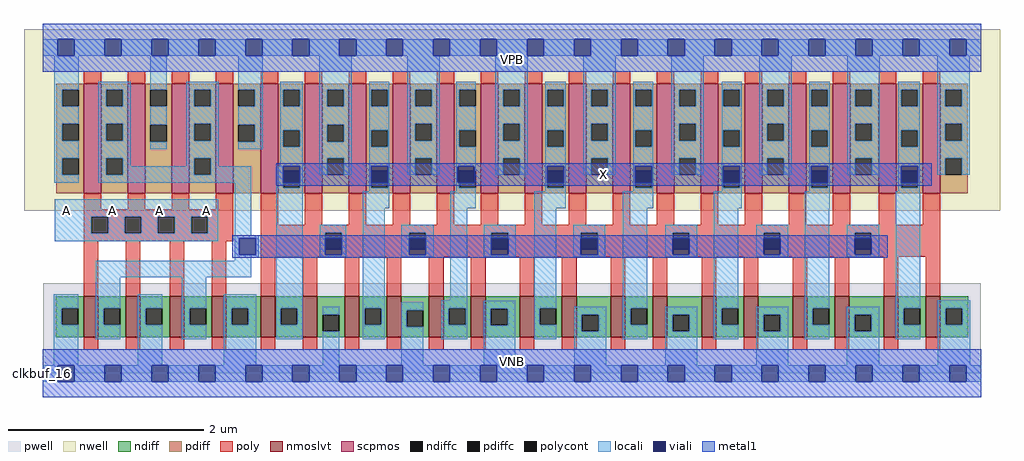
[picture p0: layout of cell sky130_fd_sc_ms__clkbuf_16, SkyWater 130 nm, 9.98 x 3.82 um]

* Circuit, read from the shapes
.subckt sky130_fd_sc_ms__clkbuf_16 A VGND VNB VPB VPWR X
XM1 n1 A VGND VNB sky130_fd_pr__nfet_01v8_lvt w=0.42 l=0.15 m=4
XM2 X n1 VGND VNB sky130_fd_pr__nfet_01v8_lvt w=0.42 l=0.15 m=16
XM3 n1 A VPWR VPB sky130_fd_pr__pfet_01v8 w=1.12 l=0.18 m=4
XM4 X n1 VPWR VPB sky130_fd_pr__pfet_01v8 w=1.12 l=0.18 m=16
.ends

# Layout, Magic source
magic
tech sky130A
magscale 1 2
<< nwell >>
rect -38 332 1958 704
<< pwell >>
rect 1 49 1919 184
rect 0 0 1920 49
<< scpmos >>
rect 84 368 120 592
rect 174 368 210 592
rect 264 368 300 592
rect 354 368 390 592
rect 446 368 482 592
rect 536 368 572 592
rect 626 368 662 592
rect 716 368 752 592
rect 806 368 842 592
rect 896 368 932 592
rect 986 368 1022 592
rect 1076 368 1112 592
rect 1166 368 1202 592
rect 1256 368 1292 592
rect 1346 368 1382 592
rect 1436 368 1472 592
rect 1526 368 1562 592
rect 1616 368 1652 592
rect 1710 368 1746 592
rect 1800 368 1836 592
<< nmoslvt >>
rect 84 74 114 158
rect 170 74 200 158
rect 260 74 290 158
rect 346 74 376 158
rect 446 74 476 158
rect 532 74 562 158
rect 618 74 648 158
rect 704 74 734 158
rect 790 74 820 158
rect 876 74 906 158
rect 976 74 1006 158
rect 1062 74 1092 158
rect 1162 74 1192 158
rect 1248 74 1278 158
rect 1348 74 1378 158
rect 1434 74 1464 158
rect 1534 74 1564 158
rect 1620 74 1650 158
rect 1720 74 1750 158
rect 1806 74 1836 158
<< ndiff >>
rect 27 133 84 158
rect 27 99 39 133
rect 73 99 84 133
rect 27 74 84 99
rect 114 133 170 158
rect 114 99 125 133
rect 159 99 170 133
rect 114 74 170 99
rect 200 133 260 158
rect 200 99 211 133
rect 245 99 260 133
rect 200 74 260 99
rect 290 133 346 158
rect 290 99 301 133
rect 335 99 346 133
rect 290 74 346 99
rect 376 133 446 158
rect 376 99 387 133
rect 421 99 446 133
rect 376 74 446 99
rect 476 133 532 158
rect 476 99 487 133
rect 521 99 532 133
rect 476 74 532 99
rect 562 120 618 158
rect 562 86 573 120
rect 607 86 618 120
rect 562 74 618 86
rect 648 133 704 158
rect 648 99 659 133
rect 693 99 704 133
rect 648 74 704 99
rect 734 129 790 158
rect 734 95 745 129
rect 779 95 790 129
rect 734 74 790 95
rect 820 133 876 158
rect 820 99 831 133
rect 865 99 876 133
rect 820 74 876 99
rect 906 132 976 158
rect 906 98 917 132
rect 951 98 976 132
rect 906 74 976 98
rect 1006 133 1062 158
rect 1006 99 1017 133
rect 1051 99 1062 133
rect 1006 74 1062 99
rect 1092 120 1162 158
rect 1092 86 1103 120
rect 1137 86 1162 120
rect 1092 74 1162 86
rect 1192 133 1248 158
rect 1192 99 1203 133
rect 1237 99 1248 133
rect 1192 74 1248 99
rect 1278 120 1348 158
rect 1278 86 1289 120
rect 1323 86 1348 120
rect 1278 74 1348 86
rect 1378 133 1434 158
rect 1378 99 1389 133
rect 1423 99 1434 133
rect 1378 74 1434 99
rect 1464 120 1534 158
rect 1464 86 1475 120
rect 1509 86 1534 120
rect 1464 74 1534 86
rect 1564 133 1620 158
rect 1564 99 1575 133
rect 1609 99 1620 133
rect 1564 74 1620 99
rect 1650 120 1720 158
rect 1650 86 1661 120
rect 1695 86 1720 120
rect 1650 74 1720 86
rect 1750 133 1806 158
rect 1750 99 1761 133
rect 1795 99 1806 133
rect 1750 74 1806 99
rect 1836 133 1893 158
rect 1836 99 1847 133
rect 1881 99 1893 133
rect 1836 74 1893 99
<< pdiff >>
rect 28 580 84 592
rect 28 546 40 580
rect 74 546 84 580
rect 28 510 84 546
rect 28 476 40 510
rect 74 476 84 510
rect 28 440 84 476
rect 28 406 40 440
rect 74 406 84 440
rect 28 368 84 406
rect 120 580 174 592
rect 120 546 130 580
rect 164 546 174 580
rect 120 510 174 546
rect 120 476 130 510
rect 164 476 174 510
rect 120 440 174 476
rect 120 406 130 440
rect 164 406 174 440
rect 120 368 174 406
rect 210 580 264 592
rect 210 546 220 580
rect 254 546 264 580
rect 210 508 264 546
rect 210 474 220 508
rect 254 474 264 508
rect 210 368 264 474
rect 300 580 354 592
rect 300 546 310 580
rect 344 546 354 580
rect 300 510 354 546
rect 300 476 310 510
rect 344 476 354 510
rect 300 440 354 476
rect 300 406 310 440
rect 344 406 354 440
rect 300 368 354 406
rect 390 580 446 592
rect 390 546 400 580
rect 434 546 446 580
rect 390 508 446 546
rect 390 474 400 508
rect 434 474 446 508
rect 390 368 446 474
rect 482 580 536 592
rect 482 546 492 580
rect 526 546 536 580
rect 482 497 536 546
rect 482 463 492 497
rect 526 463 536 497
rect 482 414 536 463
rect 482 380 492 414
rect 526 380 536 414
rect 482 368 536 380
rect 572 580 626 592
rect 572 546 582 580
rect 616 546 626 580
rect 572 508 626 546
rect 572 474 582 508
rect 616 474 626 508
rect 572 440 626 474
rect 572 406 582 440
rect 616 406 626 440
rect 572 368 626 406
rect 662 580 716 592
rect 662 546 672 580
rect 706 546 716 580
rect 662 497 716 546
rect 662 463 672 497
rect 706 463 716 497
rect 662 414 716 463
rect 662 380 672 414
rect 706 380 716 414
rect 662 368 716 380
rect 752 580 806 592
rect 752 546 762 580
rect 796 546 806 580
rect 752 510 806 546
rect 752 476 762 510
rect 796 476 806 510
rect 752 440 806 476
rect 752 406 762 440
rect 796 406 806 440
rect 752 368 806 406
rect 842 580 896 592
rect 842 546 852 580
rect 886 546 896 580
rect 842 497 896 546
rect 842 463 852 497
rect 886 463 896 497
rect 842 414 896 463
rect 842 380 852 414
rect 886 380 896 414
rect 842 368 896 380
rect 932 580 986 592
rect 932 546 942 580
rect 976 546 986 580
rect 932 510 986 546
rect 932 476 942 510
rect 976 476 986 510
rect 932 440 986 476
rect 932 406 942 440
rect 976 406 986 440
rect 932 368 986 406
rect 1022 580 1076 592
rect 1022 546 1032 580
rect 1066 546 1076 580
rect 1022 497 1076 546
rect 1022 463 1032 497
rect 1066 463 1076 497
rect 1022 414 1076 463
rect 1022 380 1032 414
rect 1066 380 1076 414
rect 1022 368 1076 380
rect 1112 580 1166 592
rect 1112 546 1122 580
rect 1156 546 1166 580
rect 1112 510 1166 546
rect 1112 476 1122 510
rect 1156 476 1166 510
rect 1112 440 1166 476
rect 1112 406 1122 440
rect 1156 406 1166 440
rect 1112 368 1166 406
rect 1202 580 1256 592
rect 1202 546 1212 580
rect 1246 546 1256 580
rect 1202 497 1256 546
rect 1202 463 1212 497
rect 1246 463 1256 497
rect 1202 414 1256 463
rect 1202 380 1212 414
rect 1246 380 1256 414
rect 1202 368 1256 380
rect 1292 580 1346 592
rect 1292 546 1302 580
rect 1336 546 1346 580
rect 1292 510 1346 546
rect 1292 476 1302 510
rect 1336 476 1346 510
rect 1292 440 1346 476
rect 1292 406 1302 440
rect 1336 406 1346 440
rect 1292 368 1346 406
rect 1382 580 1436 592
rect 1382 546 1392 580
rect 1426 546 1436 580
rect 1382 497 1436 546
rect 1382 463 1392 497
rect 1426 463 1436 497
rect 1382 414 1436 463
rect 1382 380 1392 414
rect 1426 380 1436 414
rect 1382 368 1436 380
rect 1472 580 1526 592
rect 1472 546 1482 580
rect 1516 546 1526 580
rect 1472 510 1526 546
rect 1472 476 1482 510
rect 1516 476 1526 510
rect 1472 440 1526 476
rect 1472 406 1482 440
rect 1516 406 1526 440
rect 1472 368 1526 406
rect 1562 580 1616 592
rect 1562 546 1572 580
rect 1606 546 1616 580
rect 1562 497 1616 546
rect 1562 463 1572 497
rect 1606 463 1616 497
rect 1562 414 1616 463
rect 1562 380 1572 414
rect 1606 380 1616 414
rect 1562 368 1616 380
rect 1652 580 1710 592
rect 1652 546 1662 580
rect 1696 546 1710 580
rect 1652 510 1710 546
rect 1652 476 1662 510
rect 1696 476 1710 510
rect 1652 440 1710 476
rect 1652 406 1662 440
rect 1696 406 1710 440
rect 1652 368 1710 406
rect 1746 580 1800 592
rect 1746 546 1756 580
rect 1790 546 1800 580
rect 1746 497 1800 546
rect 1746 463 1756 497
rect 1790 463 1800 497
rect 1746 414 1800 463
rect 1746 380 1756 414
rect 1790 380 1800 414
rect 1746 368 1800 380
rect 1836 580 1892 592
rect 1836 546 1846 580
rect 1880 546 1892 580
rect 1836 510 1892 546
rect 1836 476 1846 510
rect 1880 476 1892 510
rect 1836 440 1892 476
rect 1836 406 1846 440
rect 1880 406 1892 440
rect 1836 368 1892 406
<< ndiffc >>
rect 39 99 73 133
rect 125 99 159 133
rect 211 99 245 133
rect 301 99 335 133
rect 387 99 421 133
rect 487 99 521 133
rect 573 86 607 120
rect 659 99 693 133
rect 745 95 779 129
rect 831 99 865 133
rect 917 98 951 132
rect 1017 99 1051 133
rect 1103 86 1137 120
rect 1203 99 1237 133
rect 1289 86 1323 120
rect 1389 99 1423 133
rect 1475 86 1509 120
rect 1575 99 1609 133
rect 1661 86 1695 120
rect 1761 99 1795 133
rect 1847 99 1881 133
<< pdiffc >>
rect 40 546 74 580
rect 40 476 74 510
rect 40 406 74 440
rect 130 546 164 580
rect 130 476 164 510
rect 130 406 164 440
rect 220 546 254 580
rect 220 474 254 508
rect 310 546 344 580
rect 310 476 344 510
rect 310 406 344 440
rect 400 546 434 580
rect 400 474 434 508
rect 492 546 526 580
rect 492 463 526 497
rect 492 380 526 414
rect 582 546 616 580
rect 582 474 616 508
rect 582 406 616 440
rect 672 546 706 580
rect 672 463 706 497
rect 672 380 706 414
rect 762 546 796 580
rect 762 476 796 510
rect 762 406 796 440
rect 852 546 886 580
rect 852 463 886 497
rect 852 380 886 414
rect 942 546 976 580
rect 942 476 976 510
rect 942 406 976 440
rect 1032 546 1066 580
rect 1032 463 1066 497
rect 1032 380 1066 414
rect 1122 546 1156 580
rect 1122 476 1156 510
rect 1122 406 1156 440
rect 1212 546 1246 580
rect 1212 463 1246 497
rect 1212 380 1246 414
rect 1302 546 1336 580
rect 1302 476 1336 510
rect 1302 406 1336 440
rect 1392 546 1426 580
rect 1392 463 1426 497
rect 1392 380 1426 414
rect 1482 546 1516 580
rect 1482 476 1516 510
rect 1482 406 1516 440
rect 1572 546 1606 580
rect 1572 463 1606 497
rect 1572 380 1606 414
rect 1662 546 1696 580
rect 1662 476 1696 510
rect 1662 406 1696 440
rect 1756 546 1790 580
rect 1756 463 1790 497
rect 1756 380 1790 414
rect 1846 546 1880 580
rect 1846 476 1880 510
rect 1846 406 1880 440
<< poly >>
rect 84 592 120 618
rect 174 592 210 618
rect 264 592 300 618
rect 354 592 390 618
rect 446 592 482 618
rect 536 592 572 618
rect 626 592 662 618
rect 716 592 752 618
rect 806 592 842 618
rect 896 592 932 618
rect 986 592 1022 618
rect 1076 592 1112 618
rect 1166 592 1202 618
rect 1256 592 1292 618
rect 1346 592 1382 618
rect 1436 592 1472 618
rect 1526 592 1562 618
rect 1616 592 1652 618
rect 1710 592 1746 618
rect 1800 592 1836 618
rect 84 336 120 368
rect 174 336 210 368
rect 264 336 300 368
rect 354 336 390 368
rect 84 320 390 336
rect 84 286 100 320
rect 134 286 168 320
rect 202 286 236 320
rect 270 286 304 320
rect 338 286 390 320
rect 84 270 390 286
rect 446 304 482 368
rect 536 304 572 368
rect 626 304 662 368
rect 716 304 752 368
rect 806 304 842 368
rect 896 304 932 368
rect 986 304 1022 368
rect 1076 304 1112 368
rect 1166 304 1202 368
rect 1256 304 1292 368
rect 1346 304 1382 368
rect 1436 304 1472 368
rect 1526 304 1562 368
rect 1616 304 1652 368
rect 1710 304 1746 368
rect 1800 304 1836 368
rect 446 288 1836 304
rect 84 158 114 270
rect 170 158 200 270
rect 260 158 290 270
rect 346 158 376 270
rect 446 254 578 288
rect 612 254 750 288
rect 784 254 918 288
rect 952 254 1101 288
rect 1135 254 1289 288
rect 1323 254 1475 288
rect 1509 254 1661 288
rect 1695 254 1836 288
rect 446 238 1836 254
rect 446 158 476 238
rect 532 158 562 238
rect 618 158 648 238
rect 704 158 734 238
rect 790 158 820 238
rect 876 158 906 238
rect 976 158 1006 238
rect 1062 158 1092 238
rect 1162 158 1192 238
rect 1248 158 1278 238
rect 1348 158 1378 238
rect 1434 158 1464 238
rect 1534 158 1564 238
rect 1620 158 1650 238
rect 1720 158 1750 238
rect 1806 158 1836 238
rect 84 48 114 74
rect 170 48 200 74
rect 260 48 290 74
rect 346 48 376 74
rect 446 48 476 74
rect 532 48 562 74
rect 618 48 648 74
rect 704 48 734 74
rect 790 48 820 74
rect 876 48 906 74
rect 976 48 1006 74
rect 1062 48 1092 74
rect 1162 48 1192 74
rect 1248 48 1278 74
rect 1348 48 1378 74
rect 1434 48 1464 74
rect 1534 48 1564 74
rect 1620 48 1650 74
rect 1720 48 1750 74
rect 1806 48 1836 74
<< polycont >>
rect 100 286 134 320
rect 168 286 202 320
rect 236 286 270 320
rect 304 286 338 320
rect 578 254 612 288
rect 750 254 784 288
rect 918 254 952 288
rect 1101 254 1135 288
rect 1289 254 1323 288
rect 1475 254 1509 288
rect 1661 254 1695 288
<< locali >>
rect 0 649 31 683
rect 65 649 127 683
rect 161 649 223 683
rect 257 649 319 683
rect 353 649 415 683
rect 449 649 511 683
rect 545 649 607 683
rect 641 649 703 683
rect 737 649 799 683
rect 833 649 895 683
rect 929 649 991 683
rect 1025 649 1087 683
rect 1121 649 1183 683
rect 1217 649 1279 683
rect 1313 649 1375 683
rect 1409 649 1471 683
rect 1505 649 1567 683
rect 1601 649 1663 683
rect 1697 649 1759 683
rect 1793 649 1855 683
rect 1889 649 1920 683
rect 24 580 74 649
rect 24 546 40 580
rect 24 510 74 546
rect 24 476 40 510
rect 24 440 74 476
rect 24 406 40 440
rect 24 390 74 406
rect 114 580 180 596
rect 114 546 130 580
rect 164 546 180 580
rect 114 510 180 546
rect 114 476 130 510
rect 164 476 180 510
rect 114 440 180 476
rect 220 580 254 649
rect 220 508 254 546
rect 220 458 254 474
rect 294 580 360 596
rect 294 546 310 580
rect 344 546 360 580
rect 294 510 360 546
rect 294 476 310 510
rect 344 476 360 510
rect 114 406 130 440
rect 164 424 180 440
rect 294 440 360 476
rect 400 580 450 649
rect 434 546 450 580
rect 400 508 450 546
rect 434 474 450 508
rect 400 458 450 474
rect 486 580 532 596
rect 486 546 492 580
rect 526 546 532 580
rect 486 497 532 546
rect 486 463 492 497
rect 526 463 532 497
rect 294 424 310 440
rect 164 406 310 424
rect 344 424 360 440
rect 486 424 532 463
rect 344 406 427 424
rect 114 390 427 406
rect 25 320 359 356
rect 25 286 100 320
rect 134 286 168 320
rect 202 286 236 320
rect 270 286 304 320
rect 338 286 359 320
rect 25 270 359 286
rect 393 282 427 390
rect 478 380 492 424
rect 526 380 532 424
rect 566 580 632 649
rect 566 546 582 580
rect 616 546 632 580
rect 566 508 632 546
rect 566 474 582 508
rect 616 474 632 508
rect 566 440 632 474
rect 566 406 582 440
rect 616 406 632 440
rect 668 580 709 596
rect 668 546 672 580
rect 706 546 709 580
rect 668 497 709 546
rect 668 463 672 497
rect 706 463 709 497
rect 668 424 709 463
rect 393 276 442 282
rect 393 242 402 276
rect 436 242 442 276
rect 393 236 442 242
rect 393 230 427 236
rect 109 196 427 230
rect 23 133 73 162
rect 23 99 39 133
rect 23 17 73 99
rect 109 133 159 196
rect 109 99 125 133
rect 109 70 159 99
rect 195 133 245 162
rect 195 99 211 133
rect 195 17 245 99
rect 285 133 335 196
rect 285 99 301 133
rect 285 70 335 99
rect 371 133 437 162
rect 371 99 387 133
rect 421 99 437 133
rect 371 17 437 99
rect 478 133 532 380
rect 668 380 672 424
rect 706 380 709 424
rect 746 580 812 649
rect 746 546 762 580
rect 796 546 812 580
rect 746 510 812 546
rect 746 476 762 510
rect 796 476 812 510
rect 746 440 812 476
rect 746 406 762 440
rect 796 406 812 440
rect 846 580 886 596
rect 846 546 852 580
rect 846 497 886 546
rect 846 463 852 497
rect 846 424 886 463
rect 668 372 709 380
rect 846 390 849 424
rect 883 414 886 424
rect 926 580 992 649
rect 926 546 942 580
rect 976 546 992 580
rect 926 510 992 546
rect 926 476 942 510
rect 976 476 992 510
rect 926 440 992 476
rect 926 406 942 440
rect 976 406 992 440
rect 1028 580 1070 596
rect 1028 546 1032 580
rect 1066 546 1070 580
rect 1028 497 1070 546
rect 1028 463 1032 497
rect 1066 463 1070 497
rect 1028 424 1070 463
rect 846 380 852 390
rect 846 372 886 380
rect 1028 380 1032 424
rect 1066 380 1070 424
rect 1106 580 1172 649
rect 1106 546 1122 580
rect 1156 546 1172 580
rect 1106 510 1172 546
rect 1106 476 1122 510
rect 1156 476 1172 510
rect 1106 440 1172 476
rect 1106 406 1122 440
rect 1156 406 1172 440
rect 1208 580 1249 596
rect 1208 546 1212 580
rect 1246 546 1249 580
rect 1208 497 1249 546
rect 1208 463 1212 497
rect 1246 463 1249 497
rect 1208 424 1249 463
rect 1028 372 1070 380
rect 1208 380 1212 424
rect 1246 380 1249 424
rect 1286 580 1352 649
rect 1286 546 1302 580
rect 1336 546 1352 580
rect 1286 510 1352 546
rect 1286 476 1302 510
rect 1336 476 1352 510
rect 1286 440 1352 476
rect 1286 406 1302 440
rect 1336 406 1352 440
rect 1389 580 1430 596
rect 1389 546 1392 580
rect 1426 546 1430 580
rect 1389 497 1430 546
rect 1389 463 1392 497
rect 1426 463 1430 497
rect 1389 424 1430 463
rect 1208 372 1249 380
rect 1389 380 1392 424
rect 1426 380 1430 424
rect 1466 580 1532 649
rect 1466 546 1482 580
rect 1516 546 1532 580
rect 1466 510 1532 546
rect 1466 476 1482 510
rect 1516 476 1532 510
rect 1466 440 1532 476
rect 1466 406 1482 440
rect 1516 406 1532 440
rect 1568 580 1610 596
rect 1568 546 1572 580
rect 1606 546 1610 580
rect 1568 497 1610 546
rect 1568 463 1572 497
rect 1606 463 1610 497
rect 1568 424 1610 463
rect 1389 372 1430 380
rect 1568 380 1572 424
rect 1606 380 1610 424
rect 1646 580 1712 649
rect 1646 546 1662 580
rect 1696 546 1712 580
rect 1646 510 1712 546
rect 1646 476 1662 510
rect 1696 476 1712 510
rect 1646 440 1712 476
rect 1646 406 1662 440
rect 1696 406 1712 440
rect 1750 580 1794 596
rect 1750 546 1756 580
rect 1790 546 1794 580
rect 1750 497 1794 546
rect 1750 463 1756 497
rect 1790 463 1794 497
rect 1750 424 1794 463
rect 1568 372 1610 380
rect 1750 380 1756 424
rect 1790 380 1794 424
rect 1830 580 1896 649
rect 1830 546 1846 580
rect 1880 546 1896 580
rect 1830 510 1896 546
rect 1830 476 1846 510
rect 1880 476 1896 510
rect 1830 440 1896 476
rect 1830 406 1846 440
rect 1880 406 1896 440
rect 1750 372 1794 380
rect 655 338 709 372
rect 834 338 886 372
rect 1005 338 1070 372
rect 1187 338 1249 372
rect 1373 338 1430 372
rect 1559 338 1610 372
rect 1745 366 1794 372
rect 567 288 621 304
rect 567 242 578 288
rect 612 242 621 288
rect 567 238 621 242
rect 478 99 487 133
rect 521 99 532 133
rect 478 70 532 99
rect 573 120 607 136
rect 573 17 607 86
rect 655 133 700 338
rect 734 288 800 304
rect 734 242 750 288
rect 784 242 800 288
rect 734 238 800 242
rect 834 149 868 338
rect 902 288 968 304
rect 902 242 918 288
rect 952 242 968 288
rect 902 238 968 242
rect 655 99 659 133
rect 693 99 700 133
rect 655 70 700 99
rect 734 129 779 145
rect 734 95 745 129
rect 734 17 779 95
rect 815 133 868 149
rect 815 99 831 133
rect 865 99 868 133
rect 815 70 868 99
rect 902 132 967 148
rect 902 98 917 132
rect 951 98 967 132
rect 902 17 967 98
rect 1005 133 1051 338
rect 1085 288 1151 304
rect 1085 242 1101 288
rect 1135 242 1151 288
rect 1085 238 1151 242
rect 1005 99 1017 133
rect 1005 70 1051 99
rect 1087 120 1153 136
rect 1087 86 1103 120
rect 1137 86 1153 120
rect 1087 17 1153 86
rect 1187 133 1237 338
rect 1273 288 1339 304
rect 1273 242 1289 288
rect 1323 242 1339 288
rect 1273 238 1339 242
rect 1187 99 1203 133
rect 1187 70 1237 99
rect 1273 120 1339 136
rect 1273 86 1289 120
rect 1323 86 1339 120
rect 1273 17 1339 86
rect 1373 133 1423 338
rect 1459 288 1525 304
rect 1459 242 1475 288
rect 1509 242 1525 288
rect 1459 238 1525 242
rect 1373 99 1389 133
rect 1373 70 1423 99
rect 1459 120 1525 136
rect 1459 86 1475 120
rect 1509 86 1525 120
rect 1459 17 1525 86
rect 1559 133 1609 338
rect 1645 288 1711 304
rect 1645 242 1661 288
rect 1695 242 1711 288
rect 1645 238 1711 242
rect 1559 99 1575 133
rect 1559 70 1609 99
rect 1645 120 1711 136
rect 1645 86 1661 120
rect 1695 86 1711 120
rect 1645 17 1711 86
rect 1745 133 1795 366
rect 1745 99 1761 133
rect 1745 70 1795 99
rect 1831 133 1897 149
rect 1831 99 1847 133
rect 1881 99 1897 133
rect 1831 17 1897 99
rect 0 -17 31 17
rect 65 -17 127 17
rect 161 -17 223 17
rect 257 -17 319 17
rect 353 -17 415 17
rect 449 -17 511 17
rect 545 -17 607 17
rect 641 -17 703 17
rect 737 -17 799 17
rect 833 -17 895 17
rect 929 -17 991 17
rect 1025 -17 1087 17
rect 1121 -17 1183 17
rect 1217 -17 1279 17
rect 1313 -17 1375 17
rect 1409 -17 1471 17
rect 1505 -17 1567 17
rect 1601 -17 1663 17
rect 1697 -17 1759 17
rect 1793 -17 1855 17
rect 1889 -17 1920 17
<< viali >>
rect 31 649 65 683
rect 127 649 161 683
rect 223 649 257 683
rect 319 649 353 683
rect 415 649 449 683
rect 511 649 545 683
rect 607 649 641 683
rect 703 649 737 683
rect 799 649 833 683
rect 895 649 929 683
rect 991 649 1025 683
rect 1087 649 1121 683
rect 1183 649 1217 683
rect 1279 649 1313 683
rect 1375 649 1409 683
rect 1471 649 1505 683
rect 1567 649 1601 683
rect 1663 649 1697 683
rect 1759 649 1793 683
rect 1855 649 1889 683
rect 492 414 526 424
rect 492 390 526 414
rect 402 242 436 276
rect 672 414 706 424
rect 672 390 706 414
rect 849 414 883 424
rect 849 390 852 414
rect 852 390 883 414
rect 1032 414 1066 424
rect 1032 390 1066 414
rect 1212 414 1246 424
rect 1212 390 1246 414
rect 1392 414 1426 424
rect 1392 390 1426 414
rect 1572 414 1606 424
rect 1572 390 1606 414
rect 1756 414 1790 424
rect 1756 390 1790 414
rect 578 254 612 276
rect 578 242 612 254
rect 750 254 784 276
rect 750 242 784 254
rect 918 254 952 276
rect 918 242 952 254
rect 1101 254 1135 276
rect 1101 242 1135 254
rect 1289 254 1323 276
rect 1289 242 1323 254
rect 1475 254 1509 276
rect 1475 242 1509 254
rect 1661 254 1695 276
rect 1661 242 1695 254
rect 31 -17 65 17
rect 127 -17 161 17
rect 223 -17 257 17
rect 319 -17 353 17
rect 415 -17 449 17
rect 511 -17 545 17
rect 607 -17 641 17
rect 703 -17 737 17
rect 799 -17 833 17
rect 895 -17 929 17
rect 991 -17 1025 17
rect 1087 -17 1121 17
rect 1183 -17 1217 17
rect 1279 -17 1313 17
rect 1375 -17 1409 17
rect 1471 -17 1505 17
rect 1567 -17 1601 17
rect 1663 -17 1697 17
rect 1759 -17 1793 17
rect 1855 -17 1889 17
<< metal1 >>
rect 0 683 1920 715
rect 0 649 31 683
rect 65 649 127 683
rect 161 649 223 683
rect 257 649 319 683
rect 353 649 415 683
rect 449 649 511 683
rect 545 649 607 683
rect 641 649 703 683
rect 737 649 799 683
rect 833 649 895 683
rect 929 649 991 683
rect 1025 649 1087 683
rect 1121 649 1183 683
rect 1217 649 1279 683
rect 1313 649 1375 683
rect 1409 649 1471 683
rect 1505 649 1567 683
rect 1601 649 1663 683
rect 1697 649 1759 683
rect 1793 649 1855 683
rect 1889 649 1920 683
rect 0 617 1920 649
rect 478 424 1818 430
rect 478 390 492 424
rect 526 390 672 424
rect 706 390 849 424
rect 883 390 1032 424
rect 1066 390 1212 424
rect 1246 390 1392 424
rect 1426 390 1572 424
rect 1606 390 1756 424
rect 1790 390 1818 424
rect 478 384 1818 390
rect 388 276 1728 282
rect 388 242 402 276
rect 436 242 578 276
rect 612 242 750 276
rect 784 242 918 276
rect 952 242 1101 276
rect 1135 242 1289 276
rect 1323 242 1475 276
rect 1509 242 1661 276
rect 1695 242 1728 276
rect 388 236 1728 242
rect 0 17 1920 49
rect 0 -17 31 17
rect 65 -17 127 17
rect 161 -17 223 17
rect 257 -17 319 17
rect 353 -17 415 17
rect 449 -17 511 17
rect 545 -17 607 17
rect 641 -17 703 17
rect 737 -17 799 17
rect 833 -17 895 17
rect 929 -17 991 17
rect 1025 -17 1087 17
rect 1121 -17 1183 17
rect 1217 -17 1279 17
rect 1313 -17 1375 17
rect 1409 -17 1471 17
rect 1505 -17 1567 17
rect 1601 -17 1663 17
rect 1697 -17 1759 17
rect 1793 -17 1855 17
rect 1889 -17 1920 17
rect 0 -49 1920 -17
<< labels >>
flabel pwell s 0 0 1920 49 0 FreeSans 200 0 0 0 VNB
port 3 nsew ground bidirectional
flabel nwell s 0 617 1920 666 0 FreeSans 200 0 0 0 VPB
port 4 nsew power bidirectional
rlabel comment s 0 0 0 0 4 clkbuf_16
flabel metal1 s 0 617 1920 666 0 FreeSans 340 0 0 0 VPWR
port 5 nsew power bidirectional
flabel metal1 s 0 0 1920 49 0 FreeSans 340 0 0 0 VGND
port 2 nsew ground bidirectional
flabel metal1 s 478 384 1818 430 0 FreeSans 400 0 0 0 X
port 6 nsew signal output
flabel locali s 31 316 65 350 0 FreeSans 340 0 0 0 A
port 1 nsew signal input
flabel locali s 127 316 161 350 0 FreeSans 340 0 0 0 A
port 1 nsew signal input
flabel locali s 223 316 257 350 0 FreeSans 340 0 0 0 A
port 1 nsew signal input
flabel locali s 319 316 353 350 0 FreeSans 340 0 0 0 A
port 1 nsew signal input
<< properties >>
string LEFsite unit
string LEFclass CORE
string FIXED_BBOX 0 0 1920 666
string GDS_FILE $PDKPATH/libs.ref/sky130_fd_sc_ms/gds/sky130_fd_sc_ms.gds
string LEFsymmetry X Y
string GDS_END 698720
string GDS_START 683434
<< end >>
